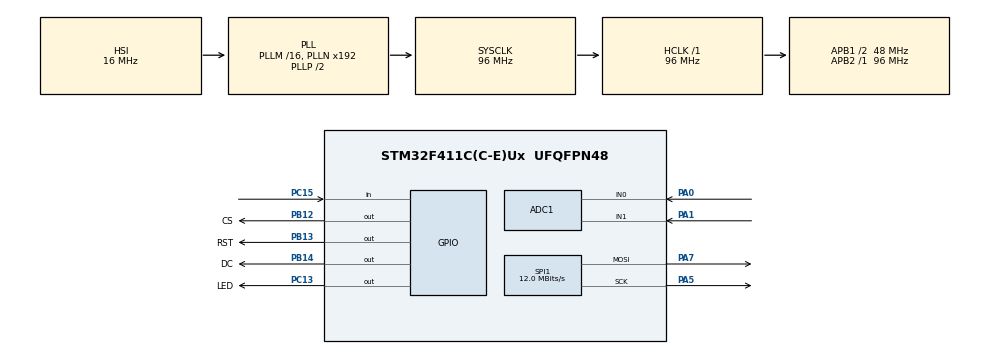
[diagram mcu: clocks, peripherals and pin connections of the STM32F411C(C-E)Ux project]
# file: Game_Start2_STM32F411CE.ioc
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ADC1.Channel-10\#ChannelRegularConversion=ADC_CHANNEL_1
ADC1.Channel-7\#ChannelRegularConversion=ADC_CHANNEL_0
ADC1.ClockPrescaler=ADC_CLOCK_SYNC_PCLK_DIV4
ADC1.ContinuousConvMode=ENABLE
ADC1.DMAContinuousRequests=ENABLE
ADC1.DiscontinuousConvMode=DISABLE
ADC1.NbrOfConversion=2
ADC1.NbrOfConversionFlag=1
ADC1.Rank-10\#ChannelRegularConversion=2
ADC1.Rank-7\#ChannelRegularConversion=1
ADC1.SamplingTime-10\#ChannelRegularConversion=ADC_SAMPLETIME_480CYCLES
ADC1.SamplingTime-7\#ChannelRegularConversion=ADC_SAMPLETIME_480CYCLES
ADC1.master=1
Dma.ADC1.0.Direction=DMA_PERIPH_TO_MEMORY
Dma.ADC1.0.FIFOMode=DMA_FIFOMODE_DISABLE
Dma.ADC1.0.Instance=DMA2_Stream0
Dma.ADC1.0.MemDataAlignment=DMA_MDATAALIGN_HALFWORD
Dma.ADC1.0.MemInc=DMA_MINC_ENABLE
Dma.ADC1.0.Mode=DMA_CIRCULAR
Dma.ADC1.0.PeriphDataAlignment=DMA_PDATAALIGN_HALFWORD
Dma.ADC1.0.PeriphInc=DMA_PINC_DISABLE
Dma.ADC1.0.Priority=DMA_PRIORITY_LOW
Dma.Request0=ADC1
FREERTOS.Tasks01=defaultTask,24,512,StartDefaultTask,Default,NULL,Dynamic,NULL,NULL
FREERTOS.configCHECK_FOR_STACK_OVERFLOW=2
FREERTOS.configMAX_PRIORITIES=56
FREERTOS.configTICK_RATE_HZ=1000
FREERTOS.configTOTAL_HEAP_SIZE=15360
FREERTOS.configUSE_MALLOC_FAILED_HOOK=1
FREERTOS.configUSE_NEWLIB_REENTRANT=1
Mcu.Family=STM32F4
Mcu.Name=STM32F411C(C-E)Ux
Mcu.Package=UFQFPN48
NVIC.DMA2_Stream0_IRQn=true\:5\:0\:false\:false\:true\:true\:false\:true\:true
NVIC.PriorityGroup=NVIC_PRIORITYGROUP_4
NVIC.TIM4_IRQn=true\:15\:0\:false\:false\:true\:false\:false\:true\:true
NVIC.TimeBase=TIM4_IRQn
NVIC.TimeBaseIP=TIM4
PA0-WKUP.Signal=ADCx_IN0
PA1.Signal=ADCx_IN1
PA13.Mode=Serial_Wire
PA13.Signal=SYS_JTMS-SWDIO
PA14.Mode=Serial_Wire
PA14.Signal=SYS_JTCK-SWCLK
PA5.Mode=TX_Only_Simplex_Unidirect_Master
PA5.Signal=SPI1_SCK
PA7.Mode=TX_Only_Simplex_Unidirect_Master
PA7.Signal=SPI1_MOSI
PB12.GPIO_Label=CS
PB12.Signal=GPIO_Output
PB13.GPIO_Label=RST
PB13.Signal=GPIO_Output
PB14.GPIO_Label=DC
PB14.Signal=GPIO_Output
PC13-ANTI_TAMP.GPIO_Label=LED
PC13-ANTI_TAMP.Signal=GPIO_Output
PC15-OSC32_OUT.GPIO_PuPd=GPIO_PULLUP
PC15-OSC32_OUT.Signal=GPIO_Input
ProjectManager.HeapSize=0x200
ProjectManager.StackSize=0x400
ProjectManager.TargetToolchain=STM32CubeIDE
RCC.48MHZClocksFreq_Value=48000000
RCC.AHBFreq_Value=96000000
RCC.APB1CLKDivider=RCC_HCLK_DIV2
RCC.APB1Freq_Value=48000000
RCC.APB1TimFreq_Value=96000000
RCC.APB2Freq_Value=96000000
RCC.APB2TimFreq_Value=96000000
RCC.CortexFreq_Value=96000000
RCC.HCLKFreq_Value=96000000
RCC.HSE_VALUE=25000000
RCC.HSI_VALUE=16000000
RCC.LSE_VALUE=32768
RCC.PLLM=16
RCC.PLLN=192
RCC.PLLP=RCC_PLLP_DIV2
RCC.PLLQ=4
RCC.PLLSourceVirtual=RCC_PLLSOURCE_HSI
RCC.SYSCLKFreq_VALUE=96000000
RCC.SYSCLKSource=RCC_SYSCLKSOURCE_PLLCLK
RCC.VCOOutputFreq_Value=192000000
SH.ADCx_IN0.0=ADC1_IN0,IN0
SH.ADCx_IN1.0=ADC1_IN1,IN1
SPI1.BaudRatePrescaler=SPI_BAUDRATEPRESCALER_8
SPI1.CalculateBaudRate=12.0 MBits/s
SPI1.Direction=SPI_DIRECTION_2LINES
SPI1.Mode=SPI_MODE_MASTER
SPI1.VirtualType=VM_MASTER
VP_FREERTOS_VS_CMSIS_V2.Mode=CMSIS_V2
VP_SYS_VS_tim4.Mode=TIM4
board=custom

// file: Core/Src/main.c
/* USER CODE BEGIN Header */
/**
  ******************************************************************************
  * @file           : main.c
  * @brief          : Main program body
  ******************************************************************************
  * @attention
  *
  * Copyright (c) 2024 STMicroelectronics.
  * All rights reserved.
  *
  * This software is licensed under terms that can be found in the LICENSE file
  * in the root directory of this software component.
  * If no LICENSE file comes with this software, it is provided AS-IS.
  *
  ******************************************************************************
  */
/* USER CODE END Header */
#include "main.h"
#include "cmsis_os.h"

/* USER CODE BEGIN Includes */
#include <string.h>
#include <stdlib.h>
#include "stdio.h"
#include "atraso.h"
#include "defPrincipais.h"
#include "PRNG_LFSR.h"
#include "st7735.h"
#include "game_config.h"
#include "app_game.h"

/* USER CODE END Includes */

ADC_HandleTypeDef hadc1;
DMA_HandleTypeDef hdma_adc1;

SPI_HandleTypeDef hspi1;

/* Definitions for defaultTask */
osThreadId_t defaultTaskHandle;
const osThreadAttr_t defaultTask_attributes = {
  .name = "defaultTask",
  .stack_size = 512 * 4,
  .priority = (osPriority_t) osPriorityNormal,
};
/* USER CODE BEGIN PV */
/* DMA fills alternating pairs; callbacks publish one aligned 32-bit snapshot. */
__ALIGNED(4) static volatile uint16_t ADC_buffer[64];
#if APP_DIAGNOSTIC
static volatile uint32_t adc_sample;
static volatile uint32_t adc_updated_ms;
static volatile uint8_t adc_ready;
#endif
/* USER CODE END PV */

void SystemClock_Config(void);
static void MX_GPIO_Init(void);
static void MX_DMA_Init(void);
static void MX_SPI1_Init(void);
static void MX_ADC1_Init(void);
void StartDefaultTask(void *argument);

/* USER CODE BEGIN 0 */
static void PublishAdcPair(unsigned offset)
{
    /* Average 16 complete XY pairs from the DMA half that just finished. */
    uint32_t x = 0, y = 0;
    for (unsigned i = offset; i < offset + 32U; i += 2U) {
        y += ADC_buffer[i]; x += ADC_buffer[i + 1U];
    }
    x /= 16U; y /= 16U;
#if APP_DIAGNOSTIC
    adc_sample = (x << 16) | y;
    adc_updated_ms = HAL_GetTick();
    adc_ready = 1U;
#else
    App_AdcFromISR((uint16_t)x, (uint16_t)y, HAL_GetTick());
#endif
}

void HAL_ADC_ConvHalfCpltCallback(ADC_HandleTypeDef *hadc)
{
    if (hadc->Instance == ADC1) PublishAdcPair(0U);
}

void HAL_ADC_ConvCpltCallback(ADC_HandleTypeDef *hadc)
{
    if (hadc->Instance == ADC1) PublishAdcPair(32U);
}
/* USER CODE END 0 */

int main(void)
{

  /* USER CODE BEGIN 1 */
  /* Default build: Labirinto campaign. APP_DIAGNOSTIC selects the bench screen. */
  /* USER CODE END 1 */

  /* MCU Configuration--------------------------------------------------------*/

  /* Reset of all peripherals, Initializes the Flash interface and the Systick. */
  HAL_Init();

  /* Configure the system clock */
  SystemClock_Config();

  /* Initialize all configured peripherals */
  MX_GPIO_Init();
  MX_DMA_Init();
  MX_SPI1_Init();
  MX_ADC1_Init();
  /* USER CODE BEGIN 2 */
  /* Application resources and ADC start after the scheduler starts. */
  /* USER CODE END 2 */

  /* Init scheduler */
  osKernelInitialize();

  /* USER CODE BEGIN RTOS_MUTEX */
  if (osKernelGetState() != osKernelReady) Error_Handler();
  /* add mutexes, ... */
  /* USER CODE END RTOS_MUTEX */

  /* Create the thread(s) */
  /* creation of defaultTask */
  defaultTaskHandle = osThreadNew(StartDefaultTask, NULL, &defaultTask_attributes);

  /* USER CODE BEGIN RTOS_THREADS */
  /* Bootstrap creates application tasks and then deletes itself. */
  if (defaultTaskHandle == NULL) Error_Handler();
  /* USER CODE END RTOS_THREADS */

  /* Start scheduler */
  osKernelStart();

  /* We should never get here as control is now taken by the scheduler */

  /* Infinite loop */
  while (1)
  {

  }
}

void SystemClock_Config(void)
{
  RCC_OscInitTypeDef RCC_OscInitStruct = {0};
  RCC_ClkInitTypeDef RCC_ClkInitStruct = {0};

  /** Configure the main internal regulator output voltage
  */
  __HAL_RCC_PWR_CLK_ENABLE();
  __HAL_PWR_VOLTAGESCALING_CONFIG(PWR_REGULATOR_VOLTAGE_SCALE1);

  /** Initializes the RCC Oscillators according to the specified parameters
  * in the RCC_OscInitTypeDef structure.
  */
  RCC_OscInitStruct.OscillatorType = RCC_OSCILLATORTYPE_HSI;
  RCC_OscInitStruct.HSIState = RCC_HSI_ON;
  RCC_OscInitStruct.HSICalibrationValue = RCC_HSICALIBRATION_DEFAULT;
  RCC_OscInitStruct.PLL.PLLState = RCC_PLL_ON;
  RCC_OscInitStruct.PLL.PLLSource = RCC_PLLSOURCE_HSI;
  RCC_OscInitStruct.PLL.PLLM = 16;
  RCC_OscInitStruct.PLL.PLLN = 192;
  RCC_OscInitStruct.PLL.PLLP = RCC_PLLP_DIV2;
  RCC_OscInitStruct.PLL.PLLQ = 4;
  if (HAL_RCC_OscConfig(&RCC_OscInitStruct) != HAL_OK)
  {
    Error_Handler();
  }

  /** Initializes the CPU, AHB and APB buses clocks
  */
  RCC_ClkInitStruct.ClockType = RCC_CLOCKTYPE_HCLK|RCC_CLOCKTYPE_SYSCLK
                              |RCC_CLOCKTYPE_PCLK1|RCC_CLOCKTYPE_PCLK2;
  RCC_ClkInitStruct.SYSCLKSource = RCC_SYSCLKSOURCE_PLLCLK;
  RCC_ClkInitStruct.AHBCLKDivider = RCC_SYSCLK_DIV1;
  RCC_ClkInitStruct.APB1CLKDivider = RCC_HCLK_DIV2;
  RCC_ClkInitStruct.APB2CLKDivider = RCC_HCLK_DIV1;

  if (HAL_RCC_ClockConfig(&RCC_ClkInitStruct, FLASH_LATENCY_3) != HAL_OK)
  {
    Error_Handler();
  }
}

static void MX_ADC1_Init(void)
{

  ADC_ChannelConfTypeDef sConfig = {0};

  /** Configure the global features of the ADC (Clock, Resolution, Data Alignment and number of conversion)
  */
  hadc1.Instance = ADC1;
  hadc1.Init.ClockPrescaler = ADC_CLOCK_SYNC_PCLK_DIV4;
  hadc1.Init.Resolution = ADC_RESOLUTION_12B;
  hadc1.Init.ScanConvMode = ENABLE;
  hadc1.Init.ContinuousConvMode = ENABLE;
  hadc1.Init.DiscontinuousConvMode = DISABLE;
  hadc1.Init.ExternalTrigConvEdge = ADC_EXTERNALTRIGCONVEDGE_NONE;
  hadc1.Init.ExternalTrigConv = ADC_SOFTWARE_START;
  hadc1.Init.DataAlign = ADC_DATAALIGN_RIGHT;
  hadc1.Init.NbrOfConversion = 2;
  hadc1.Init.DMAContinuousRequests = ENABLE;
  hadc1.Init.EOCSelection = ADC_EOC_SINGLE_CONV;
  if (HAL_ADC_Init(&hadc1) != HAL_OK)
  {
    Error_Handler();
  }

  /** Configure for the selected ADC regular channel its corresponding rank in the sequencer and its sample time.
  */
  sConfig.Channel = ADC_CHANNEL_1;
  sConfig.Rank = 2;
  sConfig.SamplingTime = ADC_SAMPLETIME_480CYCLES;
  if (HAL_ADC_ConfigChannel(&hadc1, &sConfig) != HAL_OK)
  {
    Error_Handler();
  }

  /** Configure for the selected ADC regular channel its corresponding rank in the sequencer and its sample time.
  */
  sConfig.Channel = ADC_CHANNEL_0;
  sConfig.Rank = 1;
  if (HAL_ADC_ConfigChannel(&hadc1, &sConfig) != HAL_OK)
  {
    Error_Handler();
  }

}

static void MX_SPI1_Init(void)
{

  /* SPI1 parameter configuration*/
  hspi1.Instance = SPI1;
  hspi1.Init.Mode = SPI_MODE_MASTER;
  hspi1.Init.Direction = SPI_DIRECTION_2LINES;
  hspi1.Init.DataSize = SPI_DATASIZE_8BIT;
  hspi1.Init.CLKPolarity = SPI_POLARITY_LOW;
  hspi1.Init.CLKPhase = SPI_PHASE_1EDGE;
  hspi1.Init.NSS = SPI_NSS_SOFT;
  hspi1.Init.BaudRatePrescaler = SPI_BAUDRATEPRESCALER_8;
  hspi1.Init.FirstBit = SPI_FIRSTBIT_MSB;
  hspi1.Init.TIMode = SPI_TIMODE_DISABLE;
  hspi1.Init.CRCCalculation = SPI_CRCCALCULATION_DISABLE;
  hspi1.Init.CRCPolynomial = 10;
  if (HAL_SPI_Init(&hspi1) != HAL_OK)
  {
    Error_Handler();
  }

}

static void MX_DMA_Init(void)
{

  /* DMA controller clock enable */
  __HAL_RCC_DMA2_CLK_ENABLE();

  /* DMA interrupt init */
  /* DMA2_Stream0_IRQn interrupt configuration */
  HAL_NVIC_SetPriority(DMA2_Stream0_IRQn, 5, 0);
  HAL_NVIC_EnableIRQ(DMA2_Stream0_IRQn);

}

static void MX_GPIO_Init(void)
{
  GPIO_InitTypeDef GPIO_InitStruct = {0};

  /* GPIO Ports Clock Enable */
  __HAL_RCC_GPIOC_CLK_ENABLE();
  __HAL_RCC_GPIOH_CLK_ENABLE();
  __HAL_RCC_GPIOA_CLK_ENABLE();
  __HAL_RCC_GPIOB_CLK_ENABLE();

  /*Configure GPIO pin Output Level */
  HAL_GPIO_WritePin(LED_GPIO_Port, LED_Pin, GPIO_PIN_RESET);

  /*Configure GPIO pin Output Level */
  HAL_GPIO_WritePin(GPIOB, CS_Pin|RST_Pin|DC_Pin, GPIO_PIN_RESET);

  /*Configure GPIO pin : LED_Pin */
  GPIO_InitStruct.Pin = LED_Pin;
  GPIO_InitStruct.Mode = GPIO_MODE_OUTPUT_PP;
  GPIO_InitStruct.Pull = GPIO_NOPULL;
  GPIO_InitStruct.Speed = GPIO_SPEED_FREQ_LOW;
  HAL_GPIO_Init(LED_GPIO_Port, &GPIO_InitStruct);

  /*Configure GPIO pin : PC15 */
  GPIO_InitStruct.Pin = GPIO_PIN_15;
  GPIO_InitStruct.Mode = GPIO_MODE_INPUT;
  GPIO_InitStruct.Pull = GPIO_PULLUP;
  HAL_GPIO_Init(GPIOC, &GPIO_InitStruct);

  /*Configure GPIO pins : CS_Pin RST_Pin DC_Pin */
  GPIO_InitStruct.Pin = CS_Pin|RST_Pin|DC_Pin;
  GPIO_InitStruct.Mode = GPIO_MODE_OUTPUT_PP;
  GPIO_InitStruct.Pull = GPIO_NOPULL;
  GPIO_InitStruct.Speed = GPIO_SPEED_FREQ_LOW;
  HAL_GPIO_Init(GPIOB, &GPIO_InitStruct);

}

void StartDefaultTask(void *argument)
{
  /* USER CODE BEGIN 5 */
  (void)argument;
#if APP_DIAGNOSTIC
  char line[24];
  uint16_t previous_x = 2U, previous_y = 91U;
  uint32_t led_ms = HAL_GetTick();

  HAL_Delay(100);
  ST7735_Init();
  ST7735_FillScreen(ST7735_BLACK);
  ST7735_WriteString(2, 2, "MIC2 TESTE SPI1", Font_7x10, ST7735_WHITE, ST7735_BLACK);
  ST7735_FillRectangle(2, 18, 50, 10, ST7735_RED);
  ST7735_FillRectangle(55, 18, 50, 10, ST7735_GREEN);
  ST7735_FillRectangle(108, 18, 50, 10, ST7735_BLUE);
  ST7735_FillRectangle(1, 89, 158, 38, ST7735_WHITE);
  ST7735_FillRectangle(2, 90, 156, 36, ST7735_BLACK);

  if (HAL_ADC_Start_DMA(&hadc1, (uint32_t *)ADC_buffer, 64) != HAL_OK)
      Error_Handler();
  TickType_t last_wake = xTaskGetTickCount();
  for (;;)
  {
      /* A single aligned load keeps X/Y from different callbacks out of the UI. */
      /* Copy sample and age together; an ISR cannot publish a future timestamp. */
      taskENTER_CRITICAL();
      uint32_t sample = adc_sample;
      uint32_t updated_ms = adc_updated_ms;
      uint8_t ready = adc_ready;
      uint32_t now = HAL_GetTick();
      taskEXIT_CRITICAL();
      uint16_t x = (uint16_t)(sample >> 16);
      uint16_t y = (uint16_t)sample;
      snprintf(line, sizeof(line), "X A1: %4u", (unsigned)x);
      ST7735_WriteString(2, 35, line, Font_7x10, ST7735_WHITE, ST7735_BLACK);
      snprintf(line, sizeof(line), "Y A0: %4u", (unsigned)y);
      ST7735_WriteString(2, 48, line, Font_7x10, ST7735_WHITE, ST7735_BLACK);
      ST7735_WriteString(2, 61,
          HAL_GPIO_ReadPin(GPIOC, GPIO_PIN_15) == GPIO_PIN_RESET
              ? "SW: PRESSIONADO" : "SW: SOLTO     ",
          Font_7x10, ST7735_WHITE, ST7735_BLACK);
      ST7735_WriteString(2, 74,
          ready && (uint32_t)(now - updated_ms) < 250U
              ? "ADC: OK       " : "ADC: SEM DADOS",
          Font_7x10, ST7735_WHITE, ST7735_BLACK);
      ST7735_FillRectangle(previous_x, previous_y, 4, 4, ST7735_BLACK);
      previous_x = 2U + ((uint32_t)x * 152U) / 4095U;
      previous_y = 91U + ((uint32_t)y * 30U) / 4095U;
      ST7735_FillRectangle(previous_x, previous_y, 4, 4, ST7735_GREEN);
      if ((uint32_t)(now - led_ms) >= 500U)
      {
          HAL_GPIO_TogglePin(LED_GPIO_Port, LED_Pin);
          led_ms = now;
      }
      vTaskDelayUntil(&last_wake, pdMS_TO_TICKS(50));
  }
#else
  App_Start();
  if (HAL_ADC_Start_DMA(&hadc1, (uint32_t *)ADC_buffer, 64) != HAL_OK)
      Error_Handler();
  vTaskDelete(NULL);
#endif
  /* USER CODE END 5 */
}

void HAL_TIM_PeriodElapsedCallback(TIM_HandleTypeDef *htim)
{
  if (htim->Instance == TIM4)
  {
    HAL_IncTick();
  }
}

void Error_Handler(void)
{
  __disable_irq();
  while (1)
  {
  }
}

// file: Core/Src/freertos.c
/* USER CODE BEGIN Header */
/**
  ******************************************************************************
  * File Name          : freertos.c
  * Description        : Code for freertos applications
  ******************************************************************************
  * @attention
  *
  * Copyright (c) 2024 STMicroelectronics.
  * All rights reserved.
  *
  * This software is licensed under terms that can be found in the LICENSE file
  * in the root directory of this software component.
  * If no LICENSE file comes with this software, it is provided AS-IS.
  *
  ******************************************************************************
  */
/* USER CODE END Header */

#include "FreeRTOS.h"
#include "task.h"
#include "main.h"

/* USER CODE BEGIN 4 */
void vApplicationStackOverflowHook(TaskHandle_t task, char *name)
{
    (void)task; (void)name;
    Error_Handler();
}
/* USER CODE END 4 */

/* USER CODE BEGIN 5 */
void vApplicationMallocFailedHook(void) { Error_Handler(); }
/* USER CODE END 5 */
